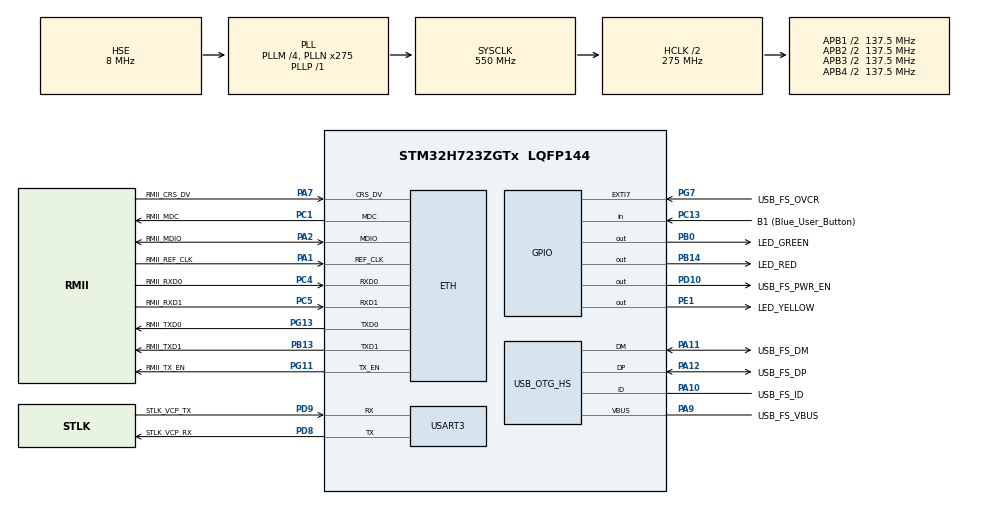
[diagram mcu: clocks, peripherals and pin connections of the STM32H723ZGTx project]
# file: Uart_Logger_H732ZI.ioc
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Dma.Request0=USART3_RX
Dma.USART3_RX.0.Direction=DMA_PERIPH_TO_MEMORY
Dma.USART3_RX.0.EventEnable=DISABLE
Dma.USART3_RX.0.FIFOMode=DMA_FIFOMODE_DISABLE
Dma.USART3_RX.0.Instance=DMA1_Stream0
Dma.USART3_RX.0.MemDataAlignment=DMA_MDATAALIGN_BYTE
Dma.USART3_RX.0.MemInc=DMA_MINC_ENABLE
Dma.USART3_RX.0.Mode=DMA_NORMAL
Dma.USART3_RX.0.PeriphDataAlignment=DMA_PDATAALIGN_BYTE
Dma.USART3_RX.0.PeriphInc=DMA_PINC_DISABLE
Dma.USART3_RX.0.Polarity=HAL_DMAMUX_REQ_GEN_RISING
Dma.USART3_RX.0.Priority=DMA_PRIORITY_LOW
Dma.USART3_RX.0.RequestNumber=1
Dma.USART3_RX.0.SignalID=NONE
Dma.USART3_RX.0.SyncEnable=DISABLE
Dma.USART3_RX.0.SyncPolarity=HAL_DMAMUX_SYNC_NO_EVENT
Dma.USART3_RX.0.SyncRequestNumber=1
Dma.USART3_RX.0.SyncSignalID=NONE
ETH.MediaInterface=HAL_ETH_RMII_MODE
FREERTOS.Tasks01=processReceiveD,0,128,StartDefaultTask,Default,NULL,Dynamic,NULL,NULL
FREERTOS.configUSE_NEWLIB_REENTRANT=1
Mcu.Family=STM32H7
Mcu.Name=STM32H723ZGTx
Mcu.Package=LQFP144
NVIC.DMA1_Stream0_IRQn=true\:5\:0\:false\:false\:true\:true\:false\:true\:true
NVIC.PriorityGroup=NVIC_PRIORITYGROUP_4
NVIC.TIM1_UP_IRQn=true\:15\:0\:false\:false\:true\:false\:false\:true\:true
NVIC.TimeBase=TIM1_UP_IRQn
NVIC.TimeBaseIP=TIM1
PA1.GPIO_Label=RMII_REF_CLK
PA1.Mode=RMII
PA1.Signal=ETH_REF_CLK
PA10.GPIO_Label=USB_FS_ID
PA10.Mode=OTG/Dual-Role-Device-FS
PA10.Signal=USB_OTG_HS_ID
PA11.GPIO_Label=USB_FS_DM
PA11.Mode=OTG/Dual-Role-Device-FS
PA11.Signal=USB_OTG_HS_DM
PA12.GPIO_Label=USB_FS_DP
PA12.Mode=OTG/Dual-Role-Device-FS
PA12.Signal=USB_OTG_HS_DP
PA13(JTMS/SWDIO).GPIO_Label=SWDIO
PA13(JTMS/SWDIO).Mode=Trace_Asynchronous_SW
PA13(JTMS/SWDIO).Signal=DEBUG_JTMS-SWDIO
PA14(JTCK/SWCLK).GPIO_Label=SWCLK
PA14(JTCK/SWCLK).Mode=Trace_Asynchronous_SW
PA14(JTCK/SWCLK).Signal=DEBUG_JTCK-SWCLK
PA2.GPIO_Label=RMII_MDIO
PA2.Mode=RMII
PA2.Signal=ETH_MDIO
PA7.GPIO_Label=RMII_CRS_DV
PA7.Mode=RMII
PA7.Signal=ETH_CRS_DV
PA9.GPIO_Label=USB_FS_VBUS
PA9.Mode=Activate_VBUS_FS
PA9.Signal=USB_OTG_HS_VBUS
PB0.GPIO_Label=LED_GREEN
PB0.Signal=GPIO_Output
PB13.GPIO_Label=RMII_TXD1
PB13.Mode=RMII
PB13.Signal=ETH_TXD1
PB14.GPIO_Label=LED_RED
PB14.Signal=GPIO_Output
PB3(JTDO/TRACESWO).GPIO_Label=SWO
PB3(JTDO/TRACESWO).Mode=Trace_Asynchronous_SW
PB3(JTDO/TRACESWO).Signal=DEBUG_JTDO-SWO
PC1.GPIO_Label=RMII_MDC
PC1.Mode=RMII
PC1.Signal=ETH_MDC
PC13.GPIO_Label=B1 (Blue_User_Button)
PC13.Signal=GPIO_Input
PC14-OSC32_IN.Mode=LSE-External-Oscillator
PC14-OSC32_IN.Signal=RCC_OSC32_IN
PC15-OSC32_OUT.Mode=LSE-External-Oscillator
PC15-OSC32_OUT.Signal=RCC_OSC32_OUT
PC4.GPIO_Label=RMII_RXD0
PC4.Mode=RMII
PC4.Signal=ETH_RXD0
PC5.GPIO_Label=RMII_RXD1
PC5.Mode=RMII
PC5.Signal=ETH_RXD1
PD10.GPIO_Label=USB_FS_PWR_EN
PD10.Signal=GPIO_Output
PD8.GPIO_Label=STLK_VCP_RX
PD8.Mode=Asynchronous
PD8.Signal=USART3_TX
PD9.GPIO_Label=STLK_VCP_TX
PD9.Mode=Asynchronous
PD9.Signal=USART3_RX
PE1.GPIO_Label=LED_YELLOW
PE1.Signal=GPIO_Output
PG11.GPIO_Label=RMII_TX_EN
PG11.Mode=RMII
PG11.Signal=ETH_TX_EN
PG13.GPIO_Label=RMII_TXD0
PG13.Mode=RMII
PG13.Signal=ETH_TXD0
PG7.GPIO_Label=USB_FS_OVCR
PG7.Signal=GPXTI7
PH0-OSC_IN.GPIO_Label=MCO
PH0-OSC_IN.Mode=HSE-External-Clock-Source
PH0-OSC_IN.Signal=RCC_OSC_IN
PH1-OSC_OUT.Signal=RCC_OSC_OUT
ProjectManager.HeapSize=0x200
ProjectManager.StackSize=0x400
ProjectManager.TargetToolchain=STM32CubeIDE
RCC.ADCFreq_Value=76000000
RCC.APB1Freq_Value=137500000
RCC.APB2Freq_Value=137500000
RCC.APB3Freq_Value=137500000
RCC.APB4Freq_Value=137500000
RCC.CortexFreq_Value=550000000
RCC.D1PPRE=RCC_APB3_DIV2
RCC.D2PPRE1=RCC_APB1_DIV2
RCC.D2PPRE2=RCC_APB2_DIV2
RCC.D3PPRE=RCC_APB4_DIV2
RCC.DIVM1=4
RCC.DIVM2=1
RCC.DIVN1=275
RCC.DIVN2=19
RCC.DIVP1=1
RCC.DIVQ1=4
RCC.HCLKFreq_Value=275000000
RCC.HPRE=RCC_HCLK_DIV2
RCC.HSE_VALUE=8000000
RCC.PLLFRACN=0
RCC.PLLSourceVirtual=RCC_PLLSOURCE_HSE
RCC.SYSCLKFreq_VALUE=550000000
RCC.SYSCLKSource=RCC_SYSCLKSOURCE_PLLCLK
RCC.USBCLockSelection=RCC_USBCLKSOURCE_HSI48
RCC.USBFreq_Value=48000000
USART3.VirtualMode-Asynchronous=VM_ASYNC
VP_FREERTOS_VS_CMSIS_V1.Mode=CMSIS_V1
VP_MEMORYMAP_VS_MEMORYMAP.Mode=CurAppReg
VP_SYS_VS_tim1.Mode=TIM1
board=NUCLEO-H723ZG

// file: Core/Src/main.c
/* USER CODE BEGIN Header */
/**
  ******************************************************************************
  * @file           : main.c
  * @brief          : Main program body
  ******************************************************************************
  * @attention
  *
  * Copyright (c) 2025 STMicroelectronics.
  * All rights reserved.
  *
  * This software is licensed under terms that can be found in the LICENSE file
  * in the root directory of this software component.
  * If no LICENSE file comes with this software, it is provided AS-IS.
  *
  ******************************************************************************
  */
/* USER CODE END Header */
#include "main.h"
#include "string.h"
#include "cmsis_os.h"

/* USER CODE BEGIN Includes */
#include <stdio.h>
/* USER CODE END Includes */

#if defined ( __ICCARM__ ) /*!< IAR Compiler */
#pragma location=0x30000000
ETH_DMADescTypeDef  DMARxDscrTab[ETH_RX_DESC_CNT]; /* Ethernet Rx DMA Descriptors */
#pragma location=0x30000080
ETH_DMADescTypeDef  DMATxDscrTab[ETH_TX_DESC_CNT]; /* Ethernet Tx DMA Descriptors */

#elif defined ( __CC_ARM )  /* MDK ARM Compiler */

__attribute__((at(0x30000000))) ETH_DMADescTypeDef  DMARxDscrTab[ETH_RX_DESC_CNT]; /* Ethernet Rx DMA Descriptors */
__attribute__((at(0x30000080))) ETH_DMADescTypeDef  DMATxDscrTab[ETH_TX_DESC_CNT]; /* Ethernet Tx DMA Descriptors */

#elif defined ( __GNUC__ ) /* GNU Compiler */

ETH_DMADescTypeDef DMARxDscrTab[ETH_RX_DESC_CNT] __attribute__((section(".RxDecripSection"))); /* Ethernet Rx DMA Descriptors */
ETH_DMADescTypeDef DMATxDscrTab[ETH_TX_DESC_CNT] __attribute__((section(".TxDecripSection")));   /* Ethernet Tx DMA Descriptors */
#endif

ETH_TxPacketConfig TxConfig;

ETH_HandleTypeDef heth;

UART_HandleTypeDef huart3;
DMA_HandleTypeDef hdma_usart3_rx;

osThreadId processReceiveDHandle;

void SystemClock_Config(void);
static void MX_GPIO_Init(void);
static void MX_DMA_Init(void);
static void MX_ETH_Init(void);
static void MX_USB_OTG_HS_USB_Init(void);
static void MX_USART3_UART_Init(void);
void StartDefaultTask(void const * argument);

/* USER CODE BEGIN 0 */
#define PACKET_SIZE 10
uint8_t rxData[PACKET_SIZE];
uint8_t packetCopy[PACKET_SIZE];
int countLastReceive = 0;
int countFullRcv = 0;

void HAL_UART_RxCpltCallback(UART_HandleTypeDef *huart){
	countFullRcv ++;
	HAL_UART_Receive_DMA(huart, rxData, PACKET_SIZE);
}

/* USER CODE END 0 */

int main(void)
{

  /* MCU Configuration--------------------------------------------------------*/

  /* Reset of all peripherals, Initializes the Flash interface and the Systick. */
  HAL_Init();

  /* Configure the system clock */
  SystemClock_Config();

  /* Initialize all configured peripherals */
  MX_GPIO_Init();
  MX_DMA_Init();
  MX_ETH_Init();
  MX_USB_OTG_HS_USB_Init();
  MX_USART3_UART_Init();
  /* USER CODE BEGIN 2 */
  HAL_UART_Receive_DMA(&huart3, rxData, PACKET_SIZE);
  /* USER CODE END 2 */

  /* Create the thread(s) */
  /* definition and creation of processReceiveD */
  osThreadDef(processReceiveD, StartDefaultTask, osPriorityNormal, 0, 128);
  processReceiveDHandle = osThreadCreate(osThread(processReceiveD), NULL);

  /* Start scheduler */
  osKernelStart();

  /* We should never get here as control is now taken by the scheduler */

  /* Infinite loop */
  while (1)
  {

  }
}

void SystemClock_Config(void)
{
  RCC_OscInitTypeDef RCC_OscInitStruct = {0};
  RCC_ClkInitTypeDef RCC_ClkInitStruct = {0};

  /** Supply configuration update enable
  */
  HAL_PWREx_ConfigSupply(PWR_LDO_SUPPLY);

  /** Configure the main internal regulator output voltage
  */
  __HAL_PWR_VOLTAGESCALING_CONFIG(PWR_REGULATOR_VOLTAGE_SCALE0);

  while(!__HAL_PWR_GET_FLAG(PWR_FLAG_VOSRDY)) {}

  /** Initializes the RCC Oscillators according to the specified parameters
  * in the RCC_OscInitTypeDef structure.
  */
  RCC_OscInitStruct.OscillatorType = RCC_OSCILLATORTYPE_HSI48|RCC_OSCILLATORTYPE_HSE;
  RCC_OscInitStruct.HSEState = RCC_HSE_BYPASS;
  RCC_OscInitStruct.HSI48State = RCC_HSI48_ON;
  RCC_OscInitStruct.PLL.PLLState = RCC_PLL_ON;
  RCC_OscInitStruct.PLL.PLLSource = RCC_PLLSOURCE_HSE;
  RCC_OscInitStruct.PLL.PLLM = 4;
  RCC_OscInitStruct.PLL.PLLN = 275;
  RCC_OscInitStruct.PLL.PLLP = 1;
  RCC_OscInitStruct.PLL.PLLQ = 4;
  RCC_OscInitStruct.PLL.PLLR = 2;
  RCC_OscInitStruct.PLL.PLLRGE = RCC_PLL1VCIRANGE_1;
  RCC_OscInitStruct.PLL.PLLVCOSEL = RCC_PLL1VCOWIDE;
  RCC_OscInitStruct.PLL.PLLFRACN = 0;
  if (HAL_RCC_OscConfig(&RCC_OscInitStruct) != HAL_OK)
  {
    Error_Handler();
  }

  /** Initializes the CPU, AHB and APB buses clocks
  */
  RCC_ClkInitStruct.ClockType = RCC_CLOCKTYPE_HCLK|RCC_CLOCKTYPE_SYSCLK
                              |RCC_CLOCKTYPE_PCLK1|RCC_CLOCKTYPE_PCLK2
                              |RCC_CLOCKTYPE_D3PCLK1|RCC_CLOCKTYPE_D1PCLK1;
  RCC_ClkInitStruct.SYSCLKSource = RCC_SYSCLKSOURCE_PLLCLK;
  RCC_ClkInitStruct.SYSCLKDivider = RCC_SYSCLK_DIV1;
  RCC_ClkInitStruct.AHBCLKDivider = RCC_HCLK_DIV2;
  RCC_ClkInitStruct.APB3CLKDivider = RCC_APB3_DIV2;
  RCC_ClkInitStruct.APB1CLKDivider = RCC_APB1_DIV2;
  RCC_ClkInitStruct.APB2CLKDivider = RCC_APB2_DIV2;
  RCC_ClkInitStruct.APB4CLKDivider = RCC_APB4_DIV2;

  if (HAL_RCC_ClockConfig(&RCC_ClkInitStruct, FLASH_LATENCY_3) != HAL_OK)
  {
    Error_Handler();
  }
}

static void MX_ETH_Init(void)
{

   static uint8_t MACAddr[6];

  heth.Instance = ETH;
  MACAddr[0] = 0x00;
  MACAddr[1] = 0x80;
  MACAddr[2] = 0xE1;
  MACAddr[3] = 0x00;
  MACAddr[4] = 0x00;
  MACAddr[5] = 0x00;
  heth.Init.MACAddr = &MACAddr[0];
  heth.Init.MediaInterface = HAL_ETH_RMII_MODE;
  heth.Init.TxDesc = DMATxDscrTab;
  heth.Init.RxDesc = DMARxDscrTab;
  heth.Init.RxBuffLen = 1524;

  if (HAL_ETH_Init(&heth) != HAL_OK)
  {
    Error_Handler();
  }

  memset(&TxConfig, 0 , sizeof(ETH_TxPacketConfig));
  TxConfig.Attributes = ETH_TX_PACKETS_FEATURES_CSUM | ETH_TX_PACKETS_FEATURES_CRCPAD;
  TxConfig.ChecksumCtrl = ETH_CHECKSUM_IPHDR_PAYLOAD_INSERT_PHDR_CALC;
  TxConfig.CRCPadCtrl = ETH_CRC_PAD_INSERT;

}

static void MX_USART3_UART_Init(void)
{

  huart3.Instance = USART3;
  huart3.Init.BaudRate = 115200;
  huart3.Init.WordLength = UART_WORDLENGTH_8B;
  huart3.Init.StopBits = UART_STOPBITS_1;
  huart3.Init.Parity = UART_PARITY_NONE;
  huart3.Init.Mode = UART_MODE_TX_RX;
  huart3.Init.HwFlowCtl = UART_HWCONTROL_NONE;
  huart3.Init.OverSampling = UART_OVERSAMPLING_16;
  huart3.Init.OneBitSampling = UART_ONE_BIT_SAMPLE_DISABLE;
  huart3.Init.ClockPrescaler = UART_PRESCALER_DIV1;
  huart3.AdvancedInit.AdvFeatureInit = UART_ADVFEATURE_NO_INIT;
  if (HAL_UART_Init(&huart3) != HAL_OK)
  {
    Error_Handler();
  }
  if (HAL_UARTEx_SetTxFifoThreshold(&huart3, UART_TXFIFO_THRESHOLD_1_8) != HAL_OK)
  {
    Error_Handler();
  }
  if (HAL_UARTEx_SetRxFifoThreshold(&huart3, UART_RXFIFO_THRESHOLD_1_8) != HAL_OK)
  {
    Error_Handler();
  }
  if (HAL_UARTEx_DisableFifoMode(&huart3) != HAL_OK)
  {
    Error_Handler();
  }

}

static void MX_USB_OTG_HS_USB_Init(void)
{

}

static void MX_DMA_Init(void)
{

  /* DMA controller clock enable */
  __HAL_RCC_DMA1_CLK_ENABLE();

  /* DMA interrupt init */
  /* DMA1_Stream0_IRQn interrupt configuration */
  HAL_NVIC_SetPriority(DMA1_Stream0_IRQn, 5, 0);
  HAL_NVIC_EnableIRQ(DMA1_Stream0_IRQn);

}

static void MX_GPIO_Init(void)
{
  GPIO_InitTypeDef GPIO_InitStruct = {0};

  /* GPIO Ports Clock Enable */
  __HAL_RCC_GPIOC_CLK_ENABLE();
  __HAL_RCC_GPIOH_CLK_ENABLE();
  __HAL_RCC_GPIOA_CLK_ENABLE();
  __HAL_RCC_GPIOB_CLK_ENABLE();
  __HAL_RCC_GPIOD_CLK_ENABLE();
  __HAL_RCC_GPIOG_CLK_ENABLE();
  __HAL_RCC_GPIOE_CLK_ENABLE();

  /*Configure GPIO pin Output Level */
  HAL_GPIO_WritePin(GPIOB, LED_GREEN_Pin|LED_RED_Pin, GPIO_PIN_RESET);

  /*Configure GPIO pin Output Level */
  HAL_GPIO_WritePin(USB_FS_PWR_EN_GPIO_Port, USB_FS_PWR_EN_Pin, GPIO_PIN_RESET);

  /*Configure GPIO pin Output Level */
  HAL_GPIO_WritePin(LED_YELLOW_GPIO_Port, LED_YELLOW_Pin, GPIO_PIN_RESET);

  /*Configure GPIO pin : B1_Pin */
  GPIO_InitStruct.Pin = B1_Pin;
  GPIO_InitStruct.Mode = GPIO_MODE_INPUT;
  GPIO_InitStruct.Pull = GPIO_NOPULL;
  HAL_GPIO_Init(B1_GPIO_Port, &GPIO_InitStruct);

  /*Configure GPIO pins : LED_GREEN_Pin LED_RED_Pin */
  GPIO_InitStruct.Pin = LED_GREEN_Pin|LED_RED_Pin;
  GPIO_InitStruct.Mode = GPIO_MODE_OUTPUT_PP;
  GPIO_InitStruct.Pull = GPIO_NOPULL;
  GPIO_InitStruct.Speed = GPIO_SPEED_FREQ_LOW;
  HAL_GPIO_Init(GPIOB, &GPIO_InitStruct);

  /*Configure GPIO pin : USB_FS_PWR_EN_Pin */
  GPIO_InitStruct.Pin = USB_FS_PWR_EN_Pin;
  GPIO_InitStruct.Mode = GPIO_MODE_OUTPUT_PP;
  GPIO_InitStruct.Pull = GPIO_NOPULL;
  GPIO_InitStruct.Speed = GPIO_SPEED_FREQ_LOW;
  HAL_GPIO_Init(USB_FS_PWR_EN_GPIO_Port, &GPIO_InitStruct);

  /*Configure GPIO pin : USB_FS_OVCR_Pin */
  GPIO_InitStruct.Pin = USB_FS_OVCR_Pin;
  GPIO_InitStruct.Mode = GPIO_MODE_IT_RISING;
  GPIO_InitStruct.Pull = GPIO_NOPULL;
  HAL_GPIO_Init(USB_FS_OVCR_GPIO_Port, &GPIO_InitStruct);

  /*Configure GPIO pin : USB_FS_VBUS_Pin */
  GPIO_InitStruct.Pin = USB_FS_VBUS_Pin;
  GPIO_InitStruct.Mode = GPIO_MODE_INPUT;
  GPIO_InitStruct.Pull = GPIO_NOPULL;
  HAL_GPIO_Init(USB_FS_VBUS_GPIO_Port, &GPIO_InitStruct);

  /*Configure GPIO pin : USB_FS_ID_Pin */
  GPIO_InitStruct.Pin = USB_FS_ID_Pin;
  GPIO_InitStruct.Mode = GPIO_MODE_AF_PP;
  GPIO_InitStruct.Pull = GPIO_NOPULL;
  GPIO_InitStruct.Speed = GPIO_SPEED_FREQ_LOW;
  GPIO_InitStruct.Alternate = GPIO_AF10_OTG1_HS;
  HAL_GPIO_Init(USB_FS_ID_GPIO_Port, &GPIO_InitStruct);

  /*Configure GPIO pin : LED_YELLOW_Pin */
  GPIO_InitStruct.Pin = LED_YELLOW_Pin;
  GPIO_InitStruct.Mode = GPIO_MODE_OUTPUT_PP;
  GPIO_InitStruct.Pull = GPIO_NOPULL;
  GPIO_InitStruct.Speed = GPIO_SPEED_FREQ_LOW;
  HAL_GPIO_Init(LED_YELLOW_GPIO_Port, &GPIO_InitStruct);

}

/* USER CODE BEGIN 4 */

int isPacketValide(){
	uint8_t checksum = 0;
	int data_length = 5;
	if (countFullRcv != 0 && countFullRcv != countLastReceive){
		countLastReceive = countFullRcv;
		memcpy(packetCopy, rxData, PACKET_SIZE);
		for(int i=0; i< data_length; i++){
			checksum ^= packetCopy[i];
		}
		if (checksum == packetCopy[data_length]){
			return 1; // Valid packet
		}
		return 0; // Invalid packet
	}else{
		return -1; // No new data received
	}
}

void send_ack(int ack){
	char ackPacket[50];
	if (ack){
		snprintf(ackPacket, sizeof(ackPacket), "recevied: %d \r\n", countLastReceive);
	}else{
		snprintf(ackPacket, sizeof(ackPacket), "invalid data: %d \r\n", countLastReceive);
	}
	HAL_UART_Transmit(&huart3, (uint8_t*)ackPacket, strlen(ackPacket), HAL_MAX_DELAY);

}

/* USER CODE END 4 */

void StartDefaultTask(void const * argument)
{
  /* USER CODE BEGIN 5 */
  /* Infinite loop */
  for(;;)
  {
	  int packet_validation = isPacketValide();
	  if (packet_validation >= 0){
		  send_ack(packet_validation);
	  }
    osDelay(1);
  }
  /* USER CODE END 5 */
}

void HAL_TIM_PeriodElapsedCallback(TIM_HandleTypeDef *htim)
{
  if (htim->Instance == TIM1) {
    HAL_IncTick();
  }
}

void Error_Handler(void)
{
  __disable_irq();
  while (1)
  {
  }
}
